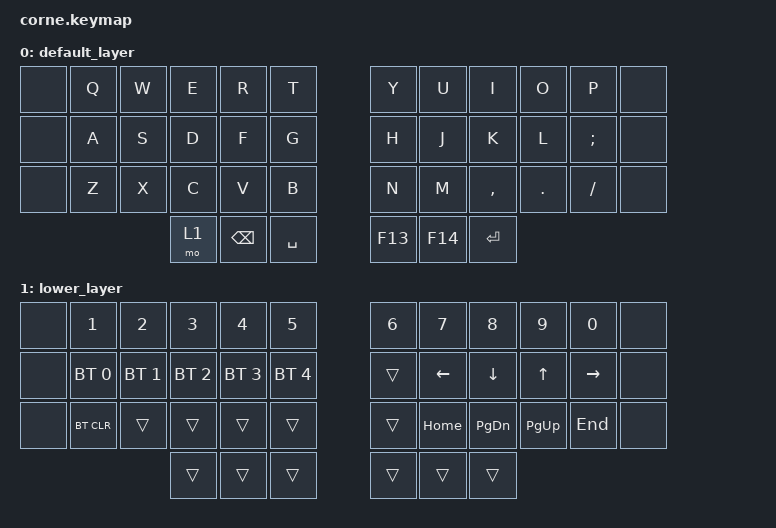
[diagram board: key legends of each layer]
/*
 * Copyright (c) 2020 The ZMK Contributors
 *
 * SPDX-License-Identifier: MIT
 */

#include <behaviors.dtsi>
#include <dt-bindings/zmk/keys.h>
#include <dt-bindings/zmk/bt.h>

/ {
        keymap {
                compatible = "zmk,keymap";

                default_layer {
// ------------------------------------------------------------------
// |  Q  |  W  |  E  |  R  |  T  |   |  Y  |  U  |  I  |  O  |  P  |
// |  A  |  S  |  D  |  F  |  G  |   |  H  |  J  |  K  |  L  |  ;  |
// |  Z  |  X  |  C  |  V  |  B  |   |  N  |  M  |  ,  |  .  |  /  |
//             | LWR |BSPC | SPC |   | F13 | F14 | RET |
                        bindings = <
   &none &kp Q &kp W &kp E &kp R &kp T     &kp Y &kp U &kp I     &kp O   &kp P     &none
   &none &kp A &kp S &kp D &kp F &kp G     &kp H &kp J &kp K     &kp L   &kp SEMI  &none
   &none &kp Z &kp X &kp C &kp V &kp B     &kp N &kp M &kp COMMA &kp DOT &kp SLASH &none
                   &mo 1 &kp BSPC  &kp SPACE         &kp F13 &kp F14 &kp RET 
                        >;
                };
                lower_layer {
// ------------------------------------------------------------------------
// |  1  |  2  |  3  |  4  |  5  |   |  6  |  7  |  8  |  9  |  0  |
// | BT1 | BT2 | BT3 | BT4 | BT5 |   | LFT | DWN |  UP | RGT |     |
// |BTCLR|     |     |     |     |   |HOME |PG_UP|PG_DN| END |     |
//             |     |     |     |   |     |     |     |
                        bindings = <
   &none &kp N1       &kp N2       &kp N3       &kp N4       &kp N5         &kp N6   &kp N7   &kp N8    &kp N9    &kp N0    &none
   &none &bt BT_SEL 0 &bt BT_SEL 1 &bt BT_SEL 2 &bt BT_SEL 3 &bt BT_SEL 4   &trans   &kp LEFT &kp DOWN  &kp UP    &kp RIGHT &none
   &none &bt BT_CLR   &trans       &trans       &trans       &trans         &trans   &kp HOME &kp PG_DN &kp PG_UP &kp END   &none
                          	   &trans       &trans       &trans         &trans   &trans   &trans
                        >;
                };
        };
};
